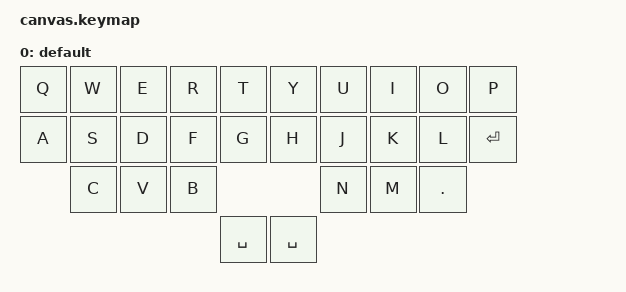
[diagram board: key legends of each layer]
#include <behaviors.dtsi>
#include <dt-bindings/zmk/keys.h>

/ {
    keymap {
        compatible = "zmk,keymap";

        default {
            bindings = <
                &kp Q   &kp W   &kp E   &kp R   &kp T       &kp Y   &kp U   &kp I   &kp O   &kp P
                &kp A   &kp S   &kp D   &kp F   &kp G       &kp H   &kp J   &kp K   &kp L   &kp ENTER
                        &kp C   &kp V   &kp B                       &kp N   &kp M   &kp DOT
                                                &kp SPACE   &kp SPACE
            >;
        };
    };
};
